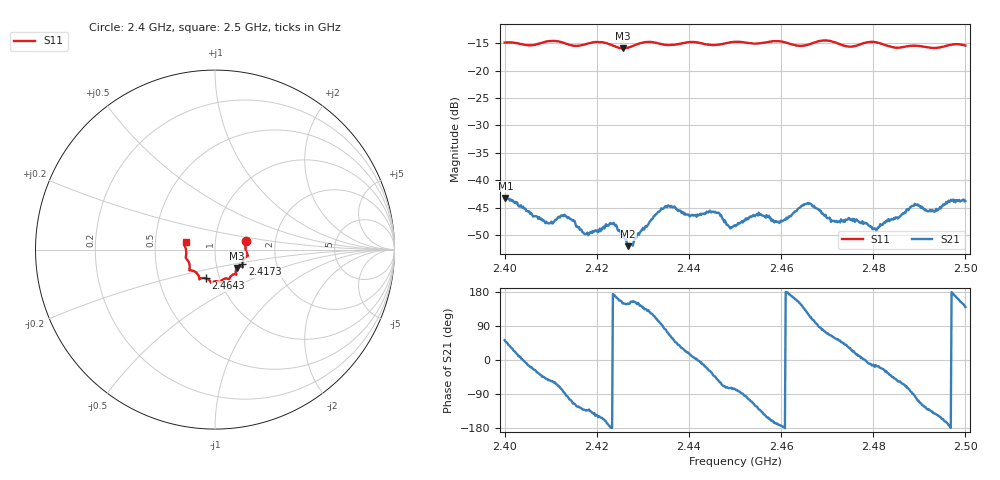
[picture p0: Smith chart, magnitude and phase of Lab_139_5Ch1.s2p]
# Hz S RI R 50
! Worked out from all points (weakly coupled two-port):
!   601 points, 2.4 GHz to 2.5 GHz, reference 50 ohm
!   highest |S21| = -43.23 dB at 2.4002 GHz (marker M1); lowest = -52.0 dB at 2.4268 GHz (marker M2)
!   lowest |S11| = -15.9 dB at 2.4257 GHz (marker M3), VSWR 1.38, Z = 62.4 - j13.1 ohm
!   |S11| at or under -10 dB: start of sweep to end of sweep
!   S12 and S22 are empty: the file has one direction only
!   S11 on the Smith chart (normalised r, x): 2.4 GHz: 1.41, +0.14; 2.4173 GHz: 1.34, -0.23; 2.4643 GHz: 0.86, -0.28; 2.5 GHz: 0.72, +0.06
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2.4e9  0.1733 0.0495  0.00418 0.00539  0 0  0 0
2.400167e9  0.1739 0.0489  0.00446 0.00526  0 0  0 0
2.409333e9  0.1826 -0.0302  0.00261 -0.00316  0 0  0 0
2.4135e9  0.1698 -0.0431  -0.000406 -0.00464  0 0  0 0
2.416667e9  0.1529 -0.0749  -0.00214 -0.00282  0 0  0 0
2.417333e9  0.1522 -0.0822  -0.00215 -0.00242  0 0  0 0
2.423333e9  0.1425 -0.0933  -0.00399 -5.57e-05  0 0  0 0
2.425667e9  0.1225 -0.1022  -0.00266 0.00161  0 0  0 0
2.426833e9  0.117 -0.1126  -0.00211 0.00135  0 0  0 0
2.433333e9  0.1128 -0.1365  -0.00121 0.00502  0 0  0 0
2.4455e9  0.0511 -0.163  0.00377 -0.00342  0 0  0 0
2.45e9  0.0297 -0.1808  0.000899 -0.00379  0 0  0 0
2.455167e9  0.000411 -0.1769  -0.00326 -0.00388  0 0  0 0
2.459833e9  -0.0234 -0.1836  -0.00414 -0.000521  0 0  0 0
2.464333e9  -0.0504 -0.1603  -0.00478 0.00328  0 0  0 0
2.466667e9  -0.0762 -0.1596  -0.00188 0.00567  0 0  0 0
2.471333e9  -0.0869 -0.1614  0.00206 0.00371  0 0  0 0
2.480333e9  -0.1432 -0.1127  0.00347 -0.00113  0 0  0 0
2.483333e9  -0.141 -0.0895  0.00361 -0.00257  0 0  0 0
2.488833e9  -0.1624 -0.0467  -0.000195 -0.00585  0 0  0 0
2.493e9  -0.1603 -0.0137  -0.00401 -0.00337  0 0  0 0
2.5e9  -0.1639 0.0423  -0.00492 0.0042  0 0  0 0
